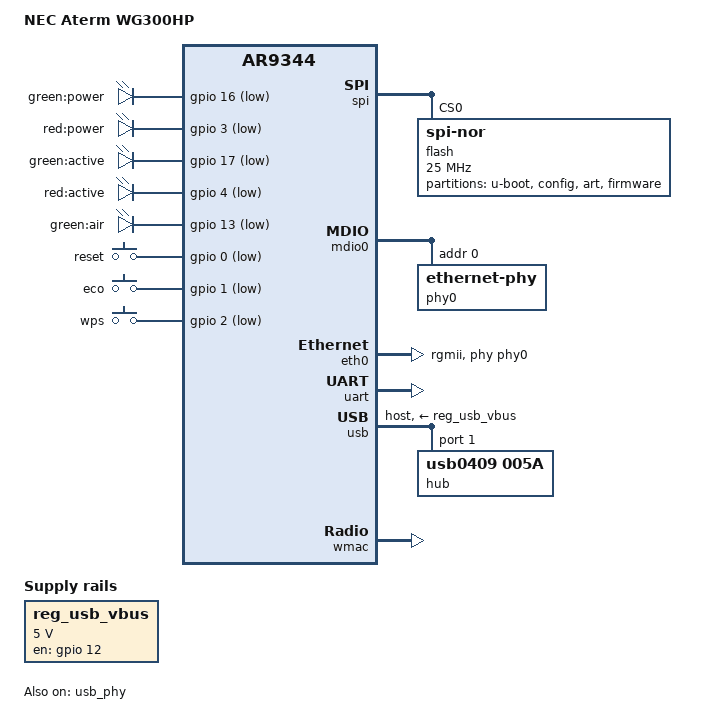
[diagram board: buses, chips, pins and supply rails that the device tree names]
// SPDX-License-Identifier: GPL-2.0-or-later OR MIT
/dts-v1/;

#include <dt-bindings/gpio/gpio.h>
#include <dt-bindings/input/input.h>

#include "ar9344.dtsi"

/ {
	compatible = "nec,wg300hp", "qca,ar9344";
	model = "NEC Aterm WG300HP";

	chosen {
		bootargs = "console=ttyS0,9600";
	};

	aliases {
		led-boot = &led_power_green;
		led-failsafe = &led_power_red;
		led-running = &led_power_green;
		led-upgrade = &led_power_green;
	};

	leds {
		compatible = "gpio-leds";

		led_power_green: power_green {
			label = "green:power";
			gpios = <&gpio 16 GPIO_ACTIVE_LOW>;
			default-state = "on";
		};

		led_power_red: power_red {
			label = "red:power";
			gpios = <&gpio 3 GPIO_ACTIVE_LOW>;
		};

		active_green {
			label = "green:active";
			gpios = <&gpio 17 GPIO_ACTIVE_LOW>;
		};

		active_red {
			label = "red:active";
			gpios = <&gpio 4 GPIO_ACTIVE_LOW>;
		};

		air {
			label = "green:air";
			gpios = <&gpio 13 GPIO_ACTIVE_LOW>;
			linux,default-trigger = "phy0tpt";
		};
	};

	keys {
		compatible = "gpio-keys";
		pinctrl-names = "default";
		pinctrl-0 = <&jtag_disable_pins>;

		reset {
			label = "reset";
			gpios = <&gpio 0 GPIO_ACTIVE_LOW>;
			linux,code = <KEY_RESTART>;
			debounce-interval = <60>;
		};

		eco {
			label = "eco";
			gpios = <&gpio 1 GPIO_ACTIVE_LOW>;
			linux,code = <BTN_0>;
			debounce-interval = <60>;
		};

		wps {
			label = "wps";
			gpios = <&gpio 2 GPIO_ACTIVE_LOW>;
			linux,code = <KEY_WPS_BUTTON>;
			debounce-interval = <60>;
		};
	};

	reg_usb_vbus: regulator {
		compatible = "regulator-fixed";

		regulator-name = "usb-vbus";
		regulator-min-microvolt = <5000000>;
		regulator-max-microvolt = <5000000>;

		gpio = <&gpio 12 GPIO_ACTIVE_HIGH>;
		enable-active-high;

		regulator-always-on;
	};
};

&ref {
	clock-frequency = <40000000>;
};

&spi {
	num-cs = <1>;
	status = "okay";

	flash@0 {
		compatible = "jedec,spi-nor";
		reg = <0>;
		spi-max-frequency = <25000000>;

		partitions {
			compatible = "fixed-partitions";
			#address-cells = <1>;
			#size-cells = <1>;

			/*
			 * OEM bootloader cannot boot OpenWrt from the flash,
			 * need to replace the bootloader to u-boot at the first
			 */
			partition@0 {
				label = "u-boot";
				reg = <0x000000 0x020000>;
			};

			/* no compatibility with u-boot */
			config: partition@20000 {
				label = "config";
				reg = <0x020000 0x010000>;
				read-only;
			};

			art: partition@30000 {
				label = "art";
				reg = <0x030000 0x010000>;
				read-only;
			};

			partition@40000 {
				compatible = "denx,uimage";
				label = "firmware";
				reg = <0x040000 0x3c0000>;
			};
		};
	};
};

&mdio0 {
	status = "okay";

	phy0: ethernet-phy@0 {
		reg = <0>;

		qca,ar8327-initvals = <
			0x04 0x07a00000 /* PORT0 PAD MODE CTRL */
			0x50 0xcf37cf37 /* LED_CTRL0 */
			0x54 0x00000000 /* LED_CTRL1 */
			0x58 0x00000000 /* LED_CTRL2 */
			0x5c 0x03ffff00 /* LED_CTRL3 */
			0x7c 0x0000007e /* PORT0_STATUS */
		>;
	};
};

&eth0 {
	status = "okay";

	pll-data = <0x06000000 0x00000101 0x00001616>;

	phy-mode = "rgmii";
	phy-handle = <&phy0>;

	mtd-mac-address = <&config 0x6>;

	gmac-config {
		device = <&gmac>;

		rgmii-gmac0 = <1>;
	};
};

&uart {
	status = "okay";
};

&usb_phy {
	status = "okay";
};

&usb {
	status = "okay";
	#address-cells = <1>;
	#size-cells = <0>;

	dr_mode = "host";
	vbus-supply = <&reg_usb_vbus>;

	hub@1 {
		compatible = "usb0409,005a";
		reg = <1>;
	};
};

&wmac {
	status = "okay";

	mtd-cal-data = <&art 0x1000>;
	mtd-mac-address = <&config 0x0>;
};
